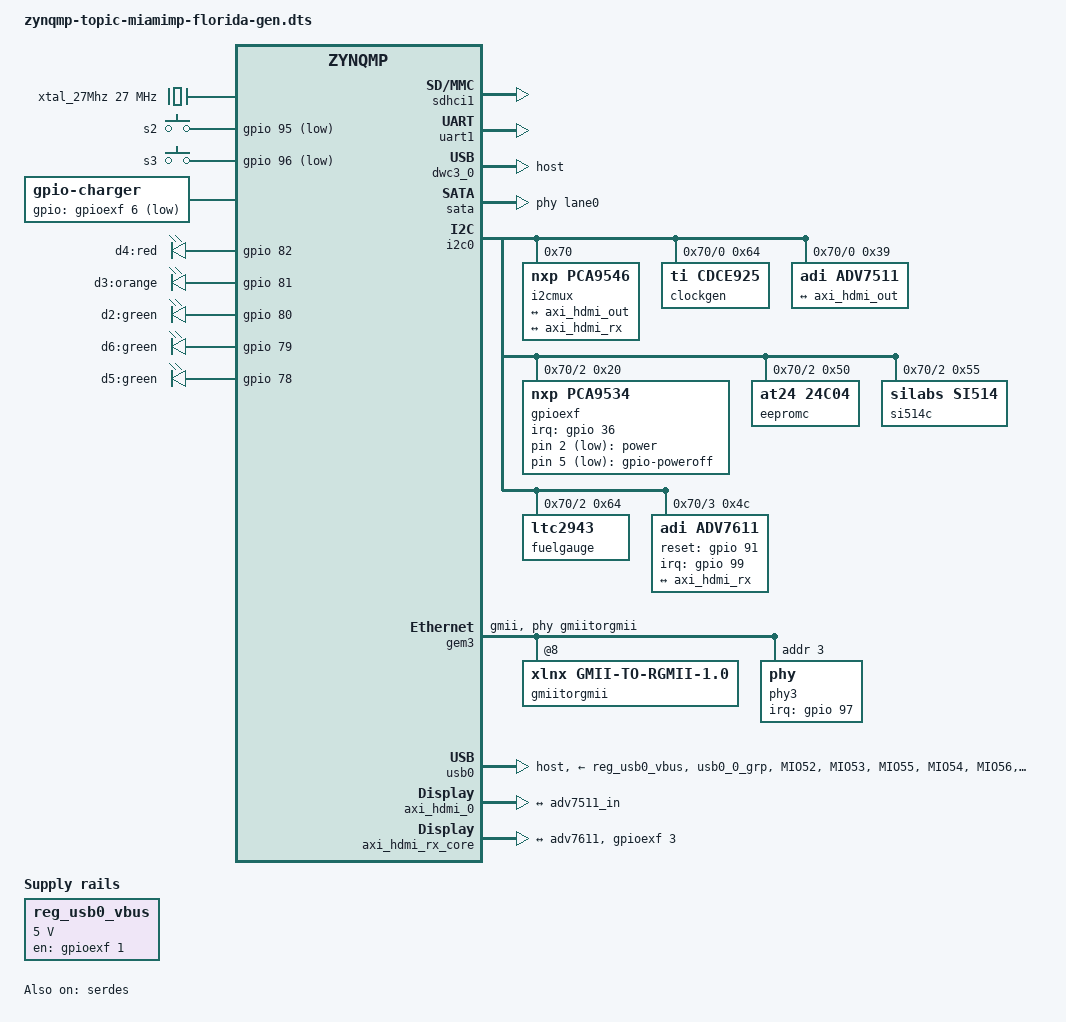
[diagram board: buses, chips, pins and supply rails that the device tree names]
/*
 * dts file for Topic Miami MPSoC
 *
 * (C) Copyright 2017, Topic Embedded Products BV
 * Mike Looijmans <mike.looijmans@topic.nl>
 *
 * This program is free software; you can redistribute it and/or
 * modify it under the terms of the GNU General Public License as
 * published by the Free Software Foundation; either version 2 of
 * the License, or (at your option) any later version.
 */

#include "zynqmp-topic-miamimp.dts"

/* Common components for MIO parts of Florida boards. These are
 * accessible even without programming any logic. */
/ {
	/* Regulator for the 5V USB VBUS power line. This is connected
	 * to the second output of the GPIO expander. */
	reg_usb0_vbus: regulator_usb {
		compatible = "regulator-fixed";
		regulator-name = "usb0-vbus";
		regulator-min-microvolt = <5000000>;
		regulator-max-microvolt = <5000000>;
		gpio = <&gpioexf 1 0>;
		enable-active-high;
		regulator-always-on; /* USB host mode */
	};

	xtal_27Mhz: clock_xtal_27Mhz {
		compatible = "fixed-clock";
		#clock-cells = <0>;
		clock-frequency = <27000000>;
	};

	gpio_keys: gpio-keys {
		compatible = "gpio-keys";
		#address-cells = <1>;
		#size-cells = <0>;
		power {
			label = "power";
			gpios = <&gpioexf 2 1>; /* Input 2, active low */
			linux,code = <116>; /* KEY_POWER */
			gpio-key,wakeup;
		};
		/* On-board push buttons in reference design */
		s2 {
			label = "s2";
			gpios = <&gpio 95 1>; /* EMIO 17, active low */
			linux,code = <60>; /* KEY_F2 */
			gpio-key,wakeup;
		};
		s3 {
			label = "s3";
			gpios = <&gpio 96 1>; /* EMIO 18, active low */
			linux,code = <61>; /* KEY_F3 */
			gpio-key,wakeup;
		};
	};

	gpio-poweroff {
		compatible = "gpio-poweroff";
		gpios = <&gpioexf 5 1>; /* Output 5, active low */
		input;
	};

	charger: battery-charger {
		compatible = "gpio-charger";
		charger-type = "mains";
		gpios = <&gpioexf 6 1>; /* Pin 6 of IO expander, active low */
	};
};

&leds {
	traffic_led_d4 { /* Red */
		label = "d4:red";
		gpios = <&gpio 82 0>; /* EMIO 4 */
		linux,default-trigger = "mmc1";
	};
	traffic_led_d3 { /* Orange */
		label = "d3:orange";
		gpios = <&gpio 81 0>; /* EMIO 3 */
		linux,default-trigger = "mmc0";
	};
	traffic_led_d2 { /* Green */
		label = "d2:green";
		gpios = <&gpio 80 0>; /* EMIO 2 */
	};
	traffic_led_d6 { /* Green */
		label = "d6:green";
		gpios = <&gpio 79 0>; /* EMIO 1 */
	};
	traffic_led_d5 { /* Green */
		label = "d5:green";
		gpios = <&gpio 78 0>; /* EMIO 0 */
	};
};

/* SD card with level shifter */
&sdhci1 {
	status = "okay";
	no-1-8-v;	/* for 1.0 silicon */
	xlnx,mio_bank = <1>;
	disable-wp; /* We don't have a write-protect detection */
};

&serdes {
	status = "okay";
};

&uart1 {
	status = "okay";
};

&dwc3_0 {
	status = "okay";
	dr_mode = "host"; /* "host", "peripheral" or "otg" */
	maximum-speed = "high-speed"; /* super-speed not available on carrier */
};

&sata {
	status = "okay";
	/* SATA OOB timing settings */
	ceva,p0-cominit-params = /bits/ 8 <0x18 0x40 0x18 0x28>;
	ceva,p0-comwake-params = /bits/ 8 <0x06 0x14 0x08 0x0E>;
	ceva,p0-burst-params = /bits/ 8 <0x13 0x08 0x4A 0x06>;
	ceva,p0-retry-params = /bits/ 16 <0x96A4 0x3FFC>;
	ceva,p1-cominit-params = /bits/ 8 <0x18 0x40 0x18 0x28>;
	ceva,p1-comwake-params = /bits/ 8 <0x06 0x14 0x08 0x0E>;
	ceva,p1-burst-params = /bits/ 8 <0x13 0x08 0x4A 0x06>;
	ceva,p1-retry-params = /bits/ 16 <0x96A4 0x3FFC>;
	/* For now, only try one instance */
	phy-names = "sata-phy", "sata-phy";
	/* Use refclock 0 at 150MHz for both instances */
	phys = <&lane0 PHY_TYPE_SATA 0 0 150000000>,
	       <&lane1 PHY_TYPE_SATA 1 0 150000000>;
	/* Using SI514 on miami through logic as REFCLK0. Must be programmed to 150MHz. */
	assigned-clocks = <&si514s>;
	assigned-clock-rates = <150000000>;
	/* Apparently doesn't work this way? */
	clocks = <&si514s>;
};

/* I2C bus layout */
&i2c0 {
	i2cmux: i2cswitch@70 {
		compatible = "nxp,pca9546";
		#address-cells = <1>;
		#size-cells = <0>;
		reg = <0x70>;

		i2cmux_0: i2c@0 {
			#address-cells = <1>;
			#size-cells = <0>;
			reg = <0>;
			/* Clock generator TI I2C chip, 27MHz . */
			clockgen: cdce925pw@64 {
				compatible = "ti,cdce925";
				reg = <0x64>;
				clocks = <&xtal_27Mhz>;
				xtal-load-pf = <5>; /* Crystal load-capacitor value */
				#clock-cells = <1>;
				/* PLL options, optional. For example to get SSC 1%
				 * centered, supply the following extra data:
				 *PLL2 {
				 *	spread-spectrum = <4>;
				 *	spread-spectrum-center;
				 *};
				 */
			};
			/* HDMI OUT */
			adv7511: adv7511@39 {
				compatible = "adi,adv7511";
				reg = <0x39>, <0x3f>;
				reg-names = "primary", "edid";
				adi,input-depth = <8>;
				adi,input-colorspace = "rgb";
				adi,input-clock = "1x";
				adi,input-style = <1>;
				adi,input-justification = "right";
				adi,clock-delay = <0>;
				#sound-dai-cells = <0>;

				ports {
					#address-cells = <1>;
					#size-cells = <0>;
					port@0 {
						reg = <0>;
						adv7511_in: endpoint {
							remote-endpoint = <&axi_hdmi_out>;
						};
					};
					port@1 {
						reg = <1>;
					};
				};
			};
		};
		i2cmux_2: i2c@2 {
			/* GEN */
			#address-cells = <1>;
			#size-cells = <0>;
			reg = <2>;
			/* GPIO expander */
			gpioexf: pca953x@20 {
				compatible = "nxp,pca9534";
				reg = <0x20>;
				/* 0=USB_OTG_OC_N 1=USB_OTG_EN_N 2=n.c. ...*/
				gpio-controller;
				#gpio-cells = <2>;
				interrupt-controller;
				/* IRQ line connected to MIO ??? */
				interrupt-parent = <&gpio>;
				interrupts = <36 0x8>; /* GPIO 36, IRQ_TYPE_LEVEL_LOW */
			};
			/* Touch */
			touch: ad7879@2f {
				status = "disabled"; /* No display panel support, so touch is pointless */
				compatible = "ad7879";
				reg = <0x2F>;
				interrupt-parent = <&gpio>;
				interrupts = <94 0x2>; /* GPIO 78+16 (EMIO 16), falling edge */
				touchscreen-swapped-x-y;
				adi,resistance-plate-x = <620>;
				touchscreen-max-pressure = <4096>;
				adi,first-conversion-delay = /bits/ 8 <3>;
				adi,acquisition-time = /bits/ 8 <1>;
				adi,median-filter-size = /bits/ 8 <2>;
				adi,averaging = /bits/ 8 <1>;
				adi,conversion-interval = /bits/ 8 <255>;
			};
			/* EEPROM */
			eepromc: eepromc@50 {
				compatible = "at24,24c04";
				reg = <0x50>;
			};
			/* Programmable clock */
			si514c: si514@55 {
				reg = <0x55>;
				#clock-cells = <0>;
				compatible = "silabs,si514";
			};
			/* Battery gauge */
			fuelgauge: battery-gauge {
				compatible = "ltc2943";
				reg = <0x64>;
				lltc,resistor-sense = <15>; /* 15 mOhm */
				lltc,prescaler-exponent = <5>; /* 2^(2*5) = 1024 */
				power-supplies = <&charger>;
			};
		};
		i2c@3 {
			/* HDMI IN */
			#address-cells = <1>;
			#size-cells = <0>;
			reg = <3>;
			/* copied from zynq-zed-imageon.dts */
			adv7611@4c {
				compatible = "adi,adv7611";
				reg = <0x4c>;
				#address-cells = <0x1>;
				#size-cells = <0x0>;
				bus-width = <24>;
				hsync-active = <0>; /* Parallel bus */
				vsync-active = <0>;
				interrupt-parent = <&gpio>;
				interrupts = <99 4>; /* EMIO 21 */
				adi,int1-config = <1>; /* ADV76XX_INT1_CONFIG_ACTIVE_LOW */
				reset-gpios = <&gpio 91 0>; /* EMIO 13 */
				port@0 {
					reg = <0x0>;
				};
				port@1 {
					reg = <0x1>;
					adv7611: endpoint {
						bus-width = <16>;
						remote-endpoint = <&axi_hdmi_rx>;
					};
				};
			};
		};
	};
};

/* Ethernet: Micrel PHY via logic to RGMII, on MDIO#3 */
&gem3 {
	status = "okay";
	phy-handle = <&gmiitorgmii>;
	phy-mode = "gmii";
	gmiitorgmii: gmiitorgmii@8 {
		compatible = "xlnx,gmii-to-rgmii-1.0";
		reg = <8>;
		phy-handle = <&phy3>;
	};
	phy3: phy@3 {
		device_type = "ethernet-phy";
		reg = <3>;
		interrupt-parent = <&gpio>;
		interrupts = <97 0x8>; /* GPIO 78+16+3, IRQ_TYPE_LEVEL_LOW */
		rxc-skew-ps = <1080>; /* Skew RX clock pad by 180 ps */
		txc-skew-ps = <840>;  /* Skew TX clock pad by -60 ps */
	};
};

/* USB connected through MIO and GPIO expander */
&usb0 {
	status = "okay";
	vbus-supply = <&reg_usb0_vbus>;
	dr_mode = "host"; /* "host", "peripheral" or "otg" */
	pinctrl-names = "default";
	pinctrl-0 = <&pinctrl_usb0_default>;
	/* USB reset connected to output 0 of expander */
	xlnx,phy-reset-gpio = <&gpioex 0 0>;
	xlnx,phy-reset-gpio-tristate;
};

/* FPGA content (reference design) */
&amba {
	axi_vdma_0: axivdma@a0040000 {
		compatible = "xlnx,axi-vdma-1.00.a";
		reg = <0x0 0xa0040000 0x0 0x10000>;
		#address-cells = <1>;
		#size-cells = <1>;
		#dma-cells = <1>;
		#dma-channels = <1>;
		clock-names = "s_axi_lite_aclk", "m_axi_mm2s_aclk", "m_axi_mm2s_aclk";
		clocks = <&clkc 71>, <&clkc 72>, <&clkc 72>; /* fclk0 and fclk1 */
		interrupt-parent = <&gic>;
		interrupts = <0 89 4>;
		dma-ranges = <0x00000000 0x00000000 0x80000000>;
		xlnx,num-fstores = <3>;
		xlnx,flush-fsync = <1>;
		xlnx,addrwidth = <32>;
		dma-channel@a0040000 {
			compatible = "xlnx,axi-vdma-mm2s-channel";
			interrupts = <0 89 4>; /* pl_ps_0[0] */
			xlnx,datawidth = <64>;
			xlnx,device-id = <0x0>;
		};
	};

	axi_hdmi_0: axi_hdmi@a0030000 {
		compatible = "adi,axi-hdmi-tx-1.00.a";
		reg = <0x0 0xa0030000 0x0 0x10000>;
		adi,is-rgb;
		dmas = <&axi_vdma_0 0>;
		dma-names = "video";
		clocks = <&clockgen 3>;
		port {
			axi_hdmi_out: endpoint {
				remote-endpoint = <&adv7511_in>;
			};
		};
	};

	axi_spdif_tx_0: axi-spdif-tx@a00f0000 {
		status = "disabled"; /* DMA connection unknown */
		compatible = "adi,axi-spdif-tx-1.00.a";
		reg = <0x0 0xa00f0000 0x0 0x1000>;
		/* TODO:  dmas = <&dmac_s 0>; */
		dma-names = "tx";
		clocks = <&clkc 71>, <&clockgen 1>, <&clockgen 1>;
		clock-names = "axi", "ref", "spdif";

		#sound-dai-cells = <0>;
	};


	axi_hdmi_rx_core: axi-hdmi-rx@a0020000 {
		compatible = "adi,axi-hdmi-rx-1.00.a";
		reg = <0x0 0xa0020000 0x0 0x10000>;
		dmas = <&axi_dmac 0>;
		dma-names = "rx";
		gpios = <&gpioexf 3 0>; /* HPD, hotplug control (?) */

		port {
			#address-cells = <0>;
			#size-cells = <0>;

			axi_hdmi_rx: endpoint {
				remote-endpoint = <&adv7611>;
				bus-width = <24>;
			};
		};
	};

	axi_dmac: dmac@a0000000 {
		compatible = "adi,axi-dmac-1.00.a";
		reg = <0x0 0xa0000000 0x0 0x10000>;
		#dma-cells = <1>;
		interrupt-parent = <&gic>;
		interrupts = <0 90 4>; /* pl_ps_0[1] */
		clocks = <&clkc 71>; /* fclk0 */

		adi,channels {
			#size-cells = <0>;
			#address-cells = <1>;
			dma-channel@0 {
				reg = <0>;
				adi,length-width = <14>;
				adi,source-bus-width = <64>;
				adi,source-bus-type = <2>;
				adi,destination-bus-width = <64>;
				adi,destination-bus-type = <0>;
				adi,2d;
			};
		};
	};
};

/ {
	adv7511_hdmi_snd {
		compatible = "simple-audio-card";
		simple-audio-card,name = "HDMI monitor";
		simple-audio-card,widgets =
			"Speaker", "Speaker";
		simple-audio-card,routing =
			"Speaker", "TX";

		simple-audio-card,dai-link@0 {
			format = "spdif";
			cpu {
				sound-dai = <&axi_spdif_tx_0>;
				frame-master;
				bitclock-master;
			};
			codec {
				sound-dai = <&adv7511>;
			};
		};
	};
};

&pinctrl0 {
	status = "okay";

	pinctrl_sdhci1_default: sdhci1-default {
		mux {
			groups = "sdio1_4bit_0_1_grp";
			function = "sdio1";
		};

		conf {
			groups = "sdio1_4bit_0_1_grp";
			slew-rate = <SLEW_RATE_SLOW>;
			io-standard = <IO_STANDARD_LVCMOS18>;
			bias-disable;
		};

		mux-cd {
			groups = "sdio1_0_cd_grp";
			function = "sdio1_cd";
		};

		conf-cd {
			groups = "sdio1_0_cd_grp";
			bias-high-impedance;
			bias-pull-up;
			slew-rate = <SLEW_RATE_SLOW>;
			io-standard = <IO_STANDARD_LVCMOS18>;
		};
	};

	pinctrl_usb0_default: usb0-default {
		mux {
			groups = "usb0_0_grp";
			function = "usb0";
		};

		conf {
			groups = "usb0_0_grp";
			slew-rate = <SLEW_RATE_SLOW>;
			io-standard = <IO_STANDARD_LVCMOS18>;
		};

		conf-rx {
			pins = "MIO52", "MIO53", "MIO55";
			bias-high-impedance;
		};

		conf-tx {
			pins = "MIO54", "MIO56", "MIO57", "MIO58", "MIO59",
			       "MIO60", "MIO61", "MIO62", "MIO63";
			bias-disable;
		};
	};
};
